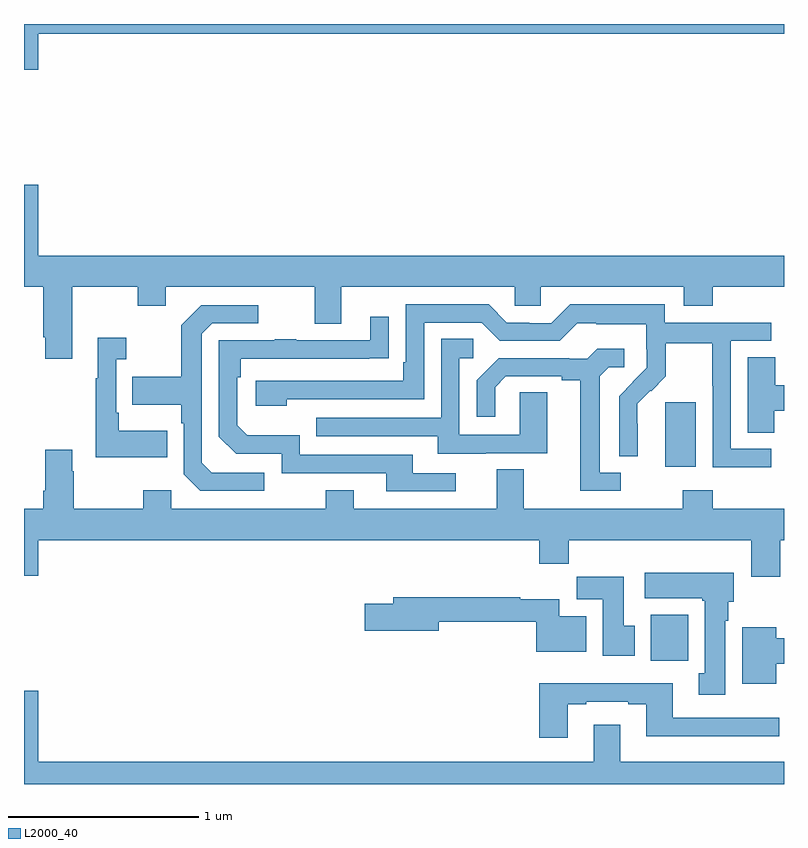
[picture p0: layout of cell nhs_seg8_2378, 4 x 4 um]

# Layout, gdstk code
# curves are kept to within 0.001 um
import gdstk
lib = gdstk.Library(unit=1e-6, precision=1e-09)
def R(c, l, rs):  # rectangles x0, y0, x1, y1
    for r in rs: c.add(gdstk.rectangle(r[:2], r[2:], *l))
def P(c, l, *ps):  # polygons
    for p in ps: c.add(gdstk.Polygon(p, *l))
L2000_40 = (2000, 40)

nhs_seg8_2378 = lib.new_cell('nhs_seg8_2378')
R(nhs_seg8_2378, L2000_40, [(264.299,1098.548,264.496,1098.79), (264.374,1099.569,264.535,1099.909)])
P(nhs_seg8_2378, L2000_40, [(261.076,1101.848),(265,1101.848),(265,1101.9),(261,1101.9),(261,1101.66),(261.076,1101.66)],
  [(261.253,1100.516),(261.598,1100.516),(261.598,1100.417),(261.745,1100.417),(261.745,1100.516),(262.529,1100.516),(262.529,1100.322),(262.669,1100.322),(262.669,1100.516),(263.583,1100.516),(263.583,1100.418),(263.721,1100.418),(263.721,1100.516),(264.473,1100.516),(264.473,1100.417),(264.626,1100.417),(264.626,1100.516),(265,1100.516),(265,1100.68),(261.076,1100.68),(261.076,1101.055),(261,1101.055),(261,1100.516),(261.101,1100.516),(261.101,1100.251),(261.113,1100.251),(261.113,1100.139),(261.253,1100.139)],
  [(264.934,1099.665),(264.72,1099.665),(264.72,1100.232),(264.934,1100.232),(264.934,1100.328),(264.372,1100.328),(264.372,1100.425),(263.875,1100.425),(263.775,1100.325),(263.66,1100.325),(263.66,1100.328),(263.541,1100.328),(263.445,1100.424),(263.01,1100.424),(263.01,1100.119),(262.997,1100.119),(262.997,1100.022),(262.221,1100.022),(262.221,1099.892),(262.382,1099.892),(262.382,1099.926),(263.106,1099.926),(263.106,1100.328),(263.409,1100.328),(263.505,1100.232),(263.82,1100.232),(263.913,1100.325),(264.013,1100.325),(264.013,1100.321),(264.276,1100.321),(264.276,1100.187),(264.278,1100.187),(264.278,1100.09),(264.132,1099.942),(264.132,1099.624),(264.229,1099.624),(264.229,1099.796),(264.227,1099.796),(264.227,1099.901),(264.297,1099.971),(264.3,1099.968),(264.377,1100.045),(264.377,1100.22),(264.622,1100.22),(264.622,1099.996),(264.624,1099.996),(264.624,1099.567),(264.934,1099.567)],
  [(262.264,1099.539),(261.987,1099.539),(261.936,1099.59),(261.936,1100.271),(261.99,1100.325),(262.234,1100.325),(262.234,1100.421),(261.933,1100.421),(261.828,1100.315),(261.828,1100.043),(261.571,1100.043),(261.571,1099.895),(261.828,1099.895),(261.828,1099.799),(261.84,1099.799),(261.84,1099.53),(261.927,1099.443),(262.264,1099.443)],
  [(263.272,1099.536),(263.047,1099.536),(263.047,1099.632),(262.452,1099.632),(262.452,1099.735),(262.175,1099.735),(262.122,1099.788),(262.122,1100.042),(262.142,1100.042),(262.142,1100.139),(262.919,1100.14),(262.919,1100.359),(262.823,1100.359),(262.823,1100.235),(262.433,1100.235),(262.433,1100.24),(262.321,1100.24),(262.321,1100.235),(262.026,1100.235),(262.026,1099.728),(262.116,1099.638),(262.356,1099.638),(262.356,1099.536),(262.907,1099.536),(262.907,1099.44),(263.272,1099.44)],
  [(261.755,1099.759),(261.499,1099.759),(261.499,1099.855),(261.486,1099.855),(261.486,1100.135),(261.538,1100.135),(261.538,1100.248),(261.389,1100.248),(261.389,1100.035),(261.378,1100.035),(261.378,1099.619),(261.755,1099.619)],
  [(263.431,1099.641),(263.755,1099.641),(263.755,1099.961),(263.61,1099.961),(263.61,1099.737),(263.292,1099.737),(263.292,1100.142),(263.365,1100.142),(263.365,1100.243),(263.196,1100.243),(263.196,1099.827),(262.537,1099.827),(262.537,1099.731),(263.177,1099.731),(263.177,1099.637),(263.431,1099.637)],
  [(264.142,1099.539),(264.031,1099.539),(264.031,1100.047),(264.078,1100.094),(264.16,1100.094),(264.16,1100.191),(264.016,1100.191),(263.964,1100.139),(263.87,1100.139),(263.87,1100.142),(263.498,1100.142),(263.382,1100.026),(263.382,1099.833),(263.479,1099.833),(263.479,1099.989),(263.536,1100.046),(263.831,1100.046),(263.831,1100.024),(263.927,1100.024),(263.927,1099.443),(264.142,1099.443)],
  [(264.948,1099.864),(265,1099.864),(265,1100),(264.953,1100),(264.953,1100.147),(264.809,1100.147),(264.809,1099.75),(264.948,1099.75)],
  [(264.626,1099.447),(264.466,1099.447),(264.466,1099.348),(263.629,1099.348),(263.629,1099.556),(263.489,1099.556),(263.489,1099.348),(262.735,1099.348),(262.735,1099.447),(262.588,1099.447),(262.588,1099.348),(261.774,1099.348),(261.774,1099.447),(261.628,1099.447),(261.628,1099.348),(261.261,1099.348),(261.261,1099.547),(261.253,1099.547),(261.253,1099.66),(261.113,1099.66),(261.113,1099.444),(261.101,1099.444),(261.101,1099.348),(261,1099.348),(261,1098.996),(261.076,1098.996),(261.076,1099.184),(263.711,1099.184),(263.711,1099.06),(263.867,1099.06),(263.867,1099.184),(264.827,1099.184),(264.827,1098.99),(264.98,1098.99),(264.98,1099.184),(265,1099.184),(265,1099.348),(264.626,1099.348)],
  [(264.691,1098.758),(264.706,1098.758),(264.706,1098.858),(264.736,1098.858),(264.736,1099.012),(264.267,1099.012),(264.267,1098.878),(264.571,1098.878),(264.571,1098.865),(264.584,1098.865),(264.584,1098.482),(264.551,1098.482),(264.551,1098.369),(264.691,1098.369)],
  [(264.214,1098.732),(264.157,1098.732),(264.157,1098.991),(263.908,1098.991),(263.908,1098.872),(264.047,1098.872),(264.047,1098.576),(264.214,1098.576)],
  [(263.959,1098.784),(263.818,1098.784),(263.818,1098.872),(263.612,1098.872),(263.612,1098.883),(262.943,1098.883),(262.943,1098.849),(262.794,1098.849),(262.794,1098.707),(263.182,1098.707),(263.182,1098.754),(263.696,1098.754),(263.696,1098.596),(263.959,1098.596)],
  [(264.958,1098.532),(265,1098.532),(265,1098.668),(264.958,1098.668),(264.958,1098.724),(264.779,1098.724),(264.779,1098.428),(264.958,1098.428)],
  [(263.863,1098.321),(263.959,1098.321),(263.959,1098.333),(264.179,1098.333),(264.179,1098.321),(264.275,1098.321),(264.275,1098.152),(264.976,1098.152),(264.976,1098.249),(264.415,1098.249),(264.415,1098.43),(263.711,1098.43),(263.711,1098.144),(263.863,1098.144)],
  [(265,1098.016),(264.139,1098.016),(264.139,1098.211),(263.999,1098.211),(263.999,1098.016),(261.076,1098.016),(261.076,1098.391),(261,1098.391),(261,1097.9),(265,1097.9)])

lib.write_gds('nhs_seg8_2378.gds')
